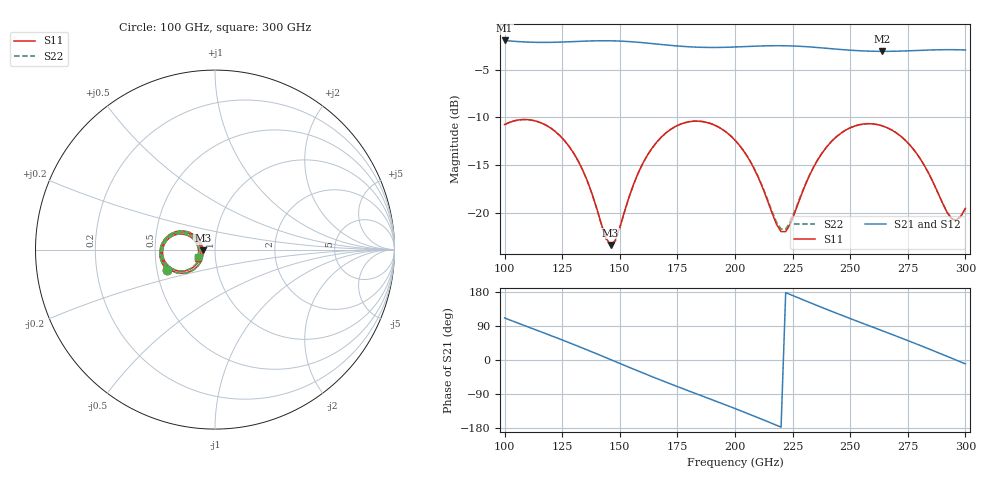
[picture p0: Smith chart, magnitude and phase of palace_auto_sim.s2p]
#  GHZ S DB R 50
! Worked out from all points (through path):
!   101 points, 100 GHz to 300 GHz, reference 50 ohm
!   highest |S21| = -1.92 dB at 100 GHz (marker M1); lowest = -3.1 dB at 264 GHz (marker M2)
!   group delay of S21, straight-line fit = 6.69 ps
!   lowest |S11| = -23.4 dB at 146 GHz (marker M3), VSWR 1.15, Z = 43.7 - j0.255 ohm
!   |S11| at or under -10 dB: start of sweep to end of sweep
!   |S22| runs from -23.5 to -10.2 dB; largest |S21 - S12| = 1.2e-13
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100  -10.74 -157.1  -1.92 110.9  -1.92 110.9  -10.74 -157.1
116  -10.58 172.6  -2.13 73.9  -2.13 73.9  -10.58 172.6
126  -12.42 155.4  -2.08 50.5  -2.08 50.5  -12.43 155.4
134  -15.57 145.8  -2.00 31.1  -2.00 31.1  -15.58 145.6
146  -23.37 -177.5  -1.96 1.1  -1.96 1.1  -23.49 -177.4
148  -22.89 -160.6  -1.97 -4.0  -1.97 -4.0  -23.00 -160.2
156  -16.99 -136.2  -2.08 -24.1  -2.08 -24.1  -17.01 -135.7
168  -12.06 -149.1  -2.35 -53.6  -2.35 -53.6  -12.07 -148.7
176  -10.73 -162.6  -2.52 -72.5  -2.52 -72.5  -10.73 -162.2
184  -10.39 -176.7  -2.63 -91.0  -2.63 -91.0  -10.38 -176.3
200  -12.38 157.0  -2.61 -128.2  -2.61 -128.2  -12.36 157.6
210  -16.23 147.9  -2.51 -152.3  -2.51 -152.3  -16.16 148.7
220  -21.97 176.7  -2.47 -177.2  -2.47 -177.2  -21.70 177.0
224  -21.18 -157.3  -2.49 172.8  -2.49 172.8  -20.95 -158.1
234  -15.26 -141.6  -2.63 147.8  -2.63 147.8  -15.22 -142.3
248  -11.33 -159.1  -2.91 114.1  -2.91 114.1  -11.32 -159.5
264  -10.88 174.9  -3.07 77.0  -3.07 77.0  -10.88 174.6
268  -11.31 168.7  -3.06 67.7  -3.06 67.7  -11.31 168.4
278  -13.50 155.6  -2.98 44.1  -2.98 44.1  -13.50 155.3
286  -16.80 153.1  -2.92 24.7  -2.92 24.7  -16.81 152.7
294  -20.60 175.4  -2.89 4.8  -2.89 4.8  -20.62 175.0
300  -19.52 -155.2  -2.92 -10.2  -2.92 -10.2  -19.54 -155.6
